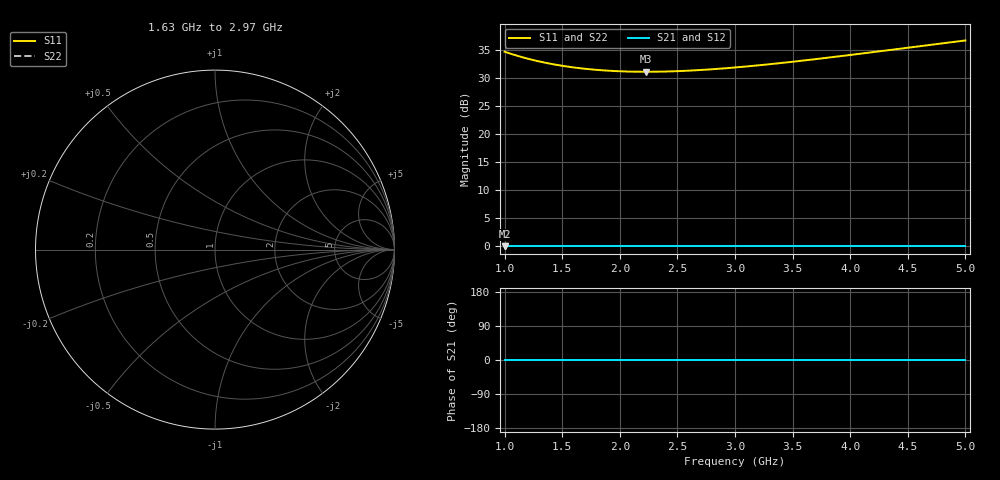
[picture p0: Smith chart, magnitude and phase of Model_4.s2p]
# GHZ S RI R 50
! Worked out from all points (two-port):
!   401 points, 1 GHz to 5 GHz, reference 50 ohm
!   highest |S21| = 0.00 dB at 1 GHz (marker M1); lowest = 0.0 dB at 1 GHz (marker M2)
!   |S21| within 3 dB of the highest: start of sweep to end of sweep
!   lowest |S11| = 31.0 dB at 2.23 GHz (marker M3)
!   |S11| at or under -10 dB: nowhere
!   |S22| runs from 31.0 to 36.6 dB; largest |S21 - S12| = 0
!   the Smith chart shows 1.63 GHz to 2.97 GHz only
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1  53.79 0  1 0  1 0  53.79 0
1.15  48.14 0  1 0  1 0  48.14 0
1.22  46.07 0  1 0  1 0  46.07 0
1.3  44.05 0  1 0  1 0  44.05 0
1.38  42.35 0  1 0  1 0  42.35 0
1.47  40.75 0  1 0  1 0  40.75 0
1.57  39.31 0  1 0  1 0  39.31 0
1.67  38.16 0  1 0  1 0  38.16 0
1.8  37.04 0  1 0  1 0  37.04 0
1.93  36.29 0  1 0  1 0  36.29 0
2.08  35.79 0  1 0  1 0  35.79 0
2.23  35.64 0  1 0  1 0  35.64 0
2.34  35.72 0  1 0  1 0  35.72 0
2.5  36.09 0  1 0  1 0  36.09 0
2.66  36.74 0  1 0  1 0  36.74 0
3  38.91 0  1 0  1 0  38.91 0
3.33  41.91 0  1 0  1 0  41.91 0
3.67  45.8 0  1 0  1 0  45.8 0
4  50.29 0  1 0  1 0  50.29 0
4.34  55.59 0  1 0  1 0  55.59 0
4.63  60.63 0  1 0  1 0  60.63 0
5  67.71 0  1 0  1 0  67.71 0
